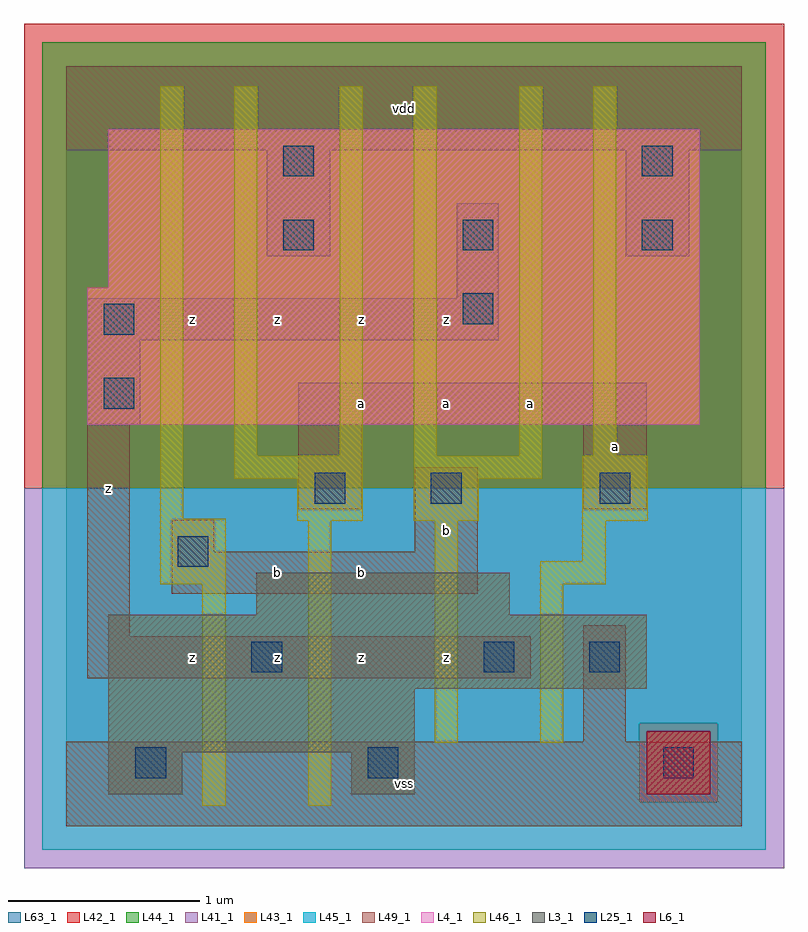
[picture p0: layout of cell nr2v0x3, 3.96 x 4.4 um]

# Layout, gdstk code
import gdstk
lib = gdstk.Library(unit=1e-6, precision=1e-09)
def R(c, l, rs):  # rectangles x0, y0, x1, y1
    for r in rs: c.add(gdstk.rectangle(r[:2], r[2:], *l))
def A(c, l, x, y, w, h, nx, ny, dx, dy):  # array of equal rectangles
    R(c, l, [(x+i*dx, y+j*dy, x+i*dx+w, y+j*dy+h) for i in range(nx) for j in range(ny)])
L3_1 = (3, 1)
L4_1 = (4, 1)
L6_1 = (6, 1)
L25_1 = (25, 1)
L41_1 = (41, 1)
L42_1 = (42, 1)
L43_1 = (43, 1)
L44_1 = (44, 1)
L45_1 = (45, 1)
L46_1 = (46, 1)
L49_1 = (49, 1)
L63_1 = (63, 1)

nr2v0x3 = lib.new_cell('nr2v0x3')
R(nr2v0x3, L3_1, [(0.22,0.165,0.605,0.385), (1.485,0.165,1.815,0.385), (0.22,0.385,1.815,0.715), (0.22,0.715,3.025,1.1), (0.99,1.1,2.31,1.32)])
R(nr2v0x3, L4_1, [(0.11,2.09,3.3,2.805), (0.22,2.805,3.3,3.63)])
R(nr2v0x3, L6_1, [(3.025,0.165,3.355,0.495)])
A(nr2v0x3, L25_1, 1.13, 3, 0.16, 0.16, 3, 1, 0.935, 0)
R(nr2v0x3, L25_1, [(0.36,0.25,0.52,0.41), (1.57,0.25,1.73,0.41), (3.11,0.25,3.27,0.41), (0.965,0.8,1.125,0.96), (2.175,0.8,2.335,0.96), (2.725,0.8,2.885,0.96), (0.58,1.35,0.74,1.51), (1.295,1.68,1.455,1.84), (1.9,1.68,2.06,1.84), (2.78,1.68,2.94,1.84), (0.195,2.175,0.355,2.335), (0.195,2.56,0.355,2.72), (2.065,2.615,2.225,2.775), (1.13,3.385,1.29,3.545), (3,3.385,3.16,3.545)])
R(nr2v0x3, L41_1, [(-0.22,-0.22,3.74,1.76)])
R(nr2v0x3, L42_1, [(-0.22,1.76,3.74,4.18)])
R(nr2v0x3, L43_1, [(0.22,0.165,0.605,0.385), (1.485,0.165,1.815,0.385), (3.025,0.165,3.355,0.495), (0.22,0.385,1.815,0.715), (0.22,0.715,3.025,1.1), (0.99,1.1,2.31,1.32), (0.11,2.09,3.3,2.805), (0.22,2.805,3.3,3.63)])
R(nr2v0x3, L44_1, [(2.985,0.125,3.395,0.535), (-0.125,1.76,3.645,4.085)])
R(nr2v0x3, L45_1, [(-0.125,-0.125,3.645,0.125), (-0.125,0.125,2.985,0.535), (3.395,0.125,3.645,0.535), (-0.125,0.535,3.645,1.76)])
R(nr2v0x3, L46_1, [(0.71,0.105,0.83,1.26), (1.26,0.105,1.38,1.59), (1.92,0.435,2.04,1.59), (2.47,0.435,2.59,1.26), (0.49,1.26,0.83,1.6), (2.47,1.26,2.81,1.38), (2.69,1.38,2.81,1.59), (1.205,1.59,1.545,1.81), (1.81,1.59,2.15,1.81), (2.69,1.59,3.03,1.93), (0.49,1.6,0.61,3.855), (0.875,1.81,1.545,1.93), (1.81,1.81,2.48,1.93), (0.875,1.93,0.995,3.855), (1.425,1.93,1.545,3.855), (1.81,1.93,1.93,3.855), (2.36,1.93,2.48,3.855), (2.745,1.93,2.865,3.855)])
R(nr2v0x3, L49_1, [(0,0,3.52,0.44), (2.695,0.44,2.915,1.045), (0.11,0.77,2.42,0.99), (0.11,0.99,0.33,2.09), (0.55,1.21,2.145,1.43), (0.55,1.43,0.77,1.595), (1.815,1.43,2.145,1.87), (1.21,1.65,1.54,2.09), (2.695,1.65,3.025,2.09), (0.11,2.09,0.385,2.53), (1.21,2.09,3.025,2.31), (0.11,2.53,2.255,2.75), (2.035,2.75,2.255,3.245), (1.045,2.97,1.375,3.52), (2.915,2.97,3.245,3.52), (0,3.52,3.52,3.96)])
R(nr2v0x3, L63_1, [(0,0,3.52,3.96)])
nr2v0x3.add(gdstk.Label('z', (0.66,0.88), layer=49, texttype=1))
nr2v0x3.add(gdstk.Label('z', (0.22,1.76), layer=49, texttype=1))
nr2v0x3.add(gdstk.Label('z', (0.66,2.64), layer=49, texttype=1))
nr2v0x3.add(gdstk.Label('z', (1.1,0.88), layer=49, texttype=1))
nr2v0x3.add(gdstk.Label('z', (1.54,0.88), layer=49, texttype=1))
nr2v0x3.add(gdstk.Label('b', (1.1,1.32), layer=49, texttype=1))
nr2v0x3.add(gdstk.Label('b', (1.54,1.32), layer=49, texttype=1))
nr2v0x3.add(gdstk.Label('a', (1.54,2.2), layer=49, texttype=1))
nr2v0x3.add(gdstk.Label('z', (1.1,2.64), layer=49, texttype=1))
nr2v0x3.add(gdstk.Label('z', (1.54,2.64), layer=49, texttype=1))
nr2v0x3.add(gdstk.Label('vss', (1.76,0.22), layer=49, texttype=1))
nr2v0x3.add(gdstk.Label('z', (1.98,0.88), layer=49, texttype=1))
nr2v0x3.add(gdstk.Label('b', (1.98,1.54), layer=49, texttype=1))
nr2v0x3.add(gdstk.Label('a', (2.42,2.2), layer=49, texttype=1))
nr2v0x3.add(gdstk.Label('a', (1.98,2.2), layer=49, texttype=1))
nr2v0x3.add(gdstk.Label('z', (1.98,2.64), layer=49, texttype=1))
nr2v0x3.add(gdstk.Label('vdd', (1.76,3.74), layer=49, texttype=1))
nr2v0x3.add(gdstk.Label('a', (2.86,1.98), layer=49, texttype=1))

lib.write_gds('nr2v0x3.gds')
